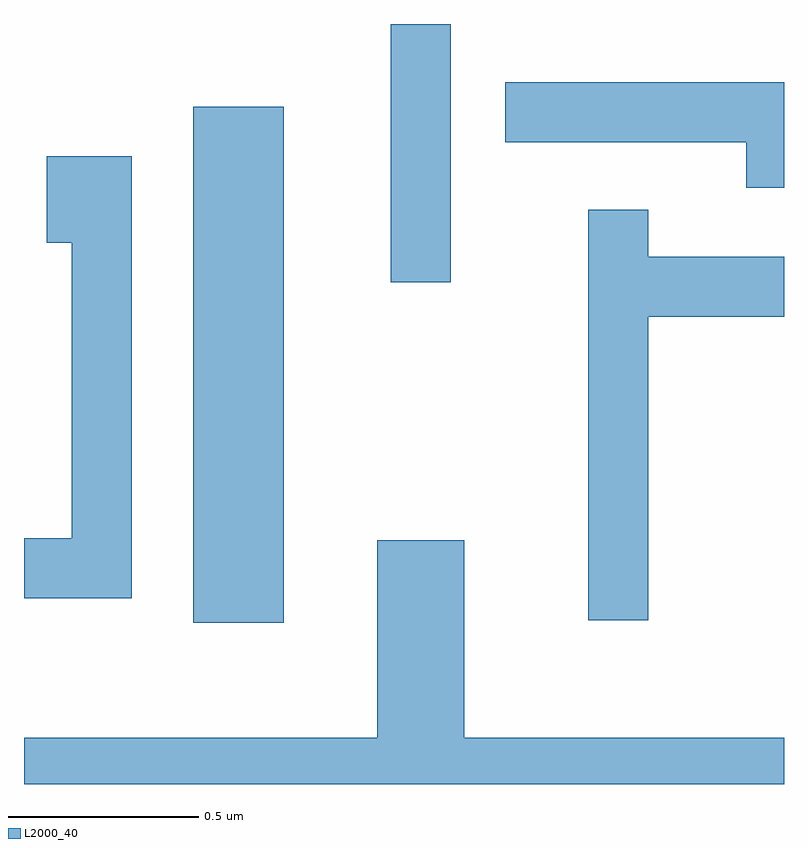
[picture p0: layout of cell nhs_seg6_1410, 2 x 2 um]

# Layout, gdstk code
import gdstk
lib = gdstk.Library(unit=1e-6, precision=1e-09)
def R(c, l, rs):  # rectangles x0, y0, x1, y1
    for r in rs: c.add(gdstk.rectangle(r[:2], r[2:], *l))
def P(c, l, *ps):  # polygons
    for p in ps: c.add(gdstk.Polygon(p, *l))
L2000_40 = (2000, 40)

nhs_seg6_1410 = lib.new_cell('nhs_seg6_1410')
R(nhs_seg6_1410, L2000_40, [(196.056,1570.586,196.294,1571.944), (196.576,1571.483,196.734,1572.162)])
P(nhs_seg6_1410, L2000_40, [(197.611,1572.009),(196.878,1572.009),(196.878,1571.851),(197.511,1571.851),(197.511,1571.731),(197.611,1571.731)],
  [(195.894,1571.814),(195.671,1571.814),(195.671,1571.586),(195.736,1571.586),(195.736,1570.809),(195.611,1570.809),(195.611,1570.651),(195.894,1570.651)],
  [(197.254,1571.391),(197.611,1571.391),(197.611,1571.549),(197.254,1571.549),(197.254,1571.673),(197.096,1571.673),(197.096,1570.593),(197.254,1570.593)],
  [(197.611,1570.284),(196.769,1570.284),(196.769,1570.804),(196.541,1570.804),(196.541,1570.284),(195.611,1570.284),(195.611,1570.162),(197.611,1570.162)])

lib.write_gds('nhs_seg6_1410.gds')
